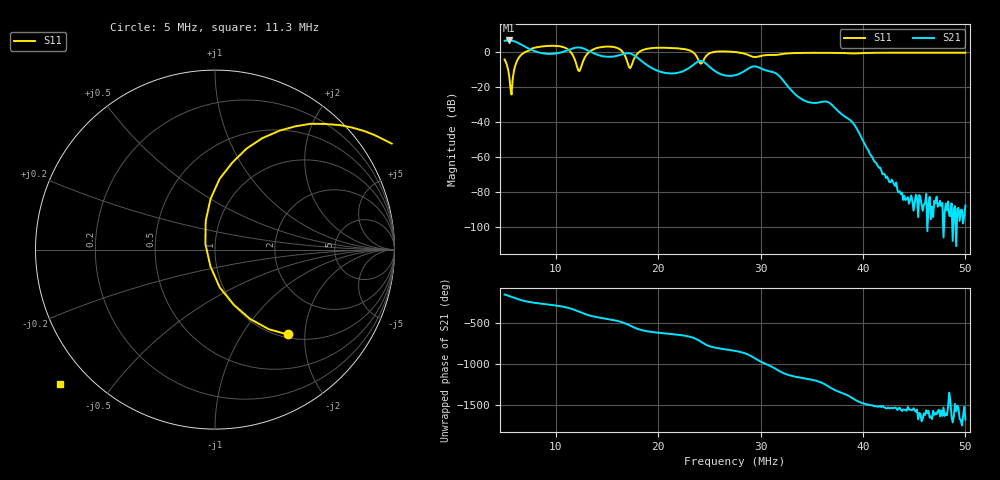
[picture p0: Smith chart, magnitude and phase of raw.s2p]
! S11/S21 only; reverse parameters are placeholders. Device calibration unverified.
! NanoVNA F V2 profile | COM3 | 2026-09-08T12:20:13.5466311-04:00 | device calibration unverified
# HZ S RI R 50
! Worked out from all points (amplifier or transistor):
!   401 points, 5 MHz to 50 MHz, reference 50 ohm
!   highest |S21| = 6.8 dB at 5.45 MHz (marker M1)
!   |S21| within 3 dB of that: start of sweep to 6.819 MHz
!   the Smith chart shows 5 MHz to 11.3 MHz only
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5000000  0.4046 -0.4728  -1.957 -0.8676  0 0  0 0
5450000  0.0264 -0.211  -2.18 -0.2047  0 0  0 0
6350000  0.2641 0.6212  -1.514 1.043  0 0  0 0
7250000  0.8855 0.6398  -0.6077 1.178  0 0  0 0
7812500  0.5585 -1.205  -0.3003 1.077  0 0  0 0
9725000  -0.131 -1.538  0.232 0.8784  0 0  0 0
1.14125e7  -0.8603 -0.6038  1.006 0.701  0 0  0 0
1.25375e7  0.3522 0.2641  1.268 -0.423  0 0  0 0
1.36625e7  1.076 -0.5678  0.4464 -0.8395  0 0  0 0
1.54625e7  0.5507 -1.339  -0.1594 -0.7339  0 0  0 0
1.625e7  -0.1093 -1.219  -0.4716 -0.692  0 0  0 0
1.6925e7  -0.5236 -0.2983  -0.8503 -0.4032  0 0  0 0
1.77125e7  0.4965 0.511  -0.7541 0.2776  0 0  0 0
2.0075e7  1.273 -0.459  -0.0438 0.2828  0 0  0 0
2.39e7  0.3548 -0.5191  0.5394 0.1029  0 0  0 0
2.4575e7  0.7049 -0.0792  0.3791 -0.3288  0 0  0 0
2.75e7  0.8649 -0.5426  -0.1121 -0.1904  0 0  0 0
3.12125e7  0.7241 -0.43  0.2121 0.1696  0 0  0 0
3.50375e7  0.7029 -0.667  -0.0138 -0.0332  0 0  0 0
3.88625e7  0.5343 -0.7616  0.00901 0.00589  0 0  0 0
4.2575e7  0.4424 -0.8702  -3.4e-05 -0.000189  0 0  0 0
5e7  0.1582 -0.9639  -2.4e-05 3.3e-05  0 0  0 0
